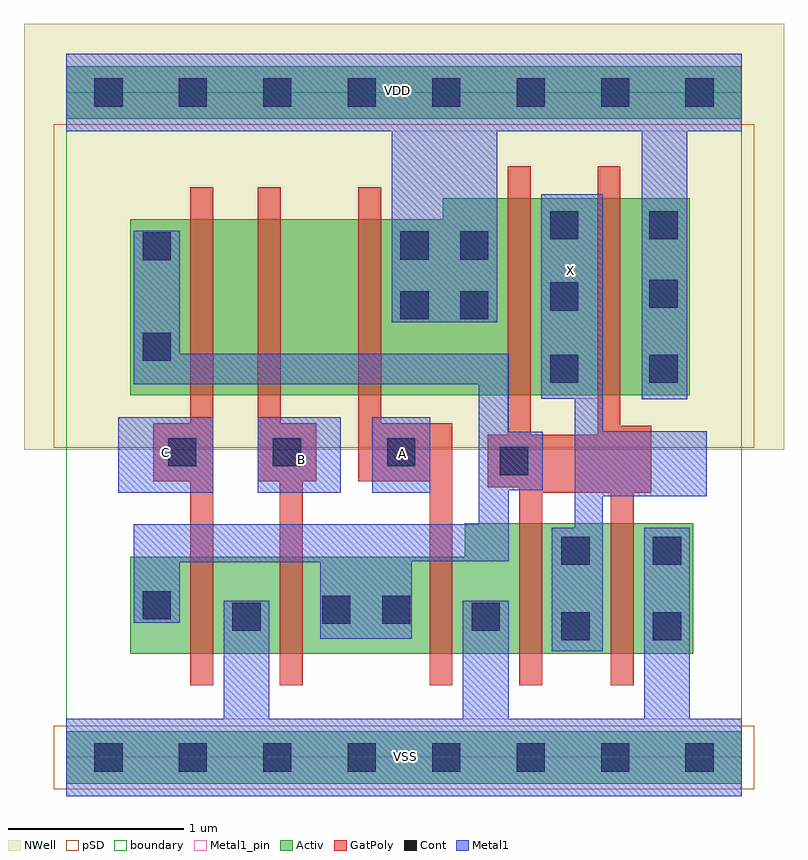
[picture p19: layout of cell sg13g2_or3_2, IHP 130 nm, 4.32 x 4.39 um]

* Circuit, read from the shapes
.subckt sg13g2_or3_2 A B C VDD VSS X
XM1 VSS C n1 VSS sg13_lv_nmos w=0.55u l=0.13u
XM2 n1 B VSS VSS sg13_lv_nmos w=0.55u l=0.13u
XM3 VSS A n1 VSS sg13_lv_nmos w=0.55u l=0.13u
XM4 X n1 VSS VSS sg13_lv_nmos w=0.74u l=0.13u m=2
XM5 n2 C n1 VDD sg13_lv_pmos w=1u l=0.13u
XM6 n3 B n2 VDD sg13_lv_pmos w=1u l=0.13u
XM7 VDD A n3 VDD sg13_lv_pmos w=1u l=0.13u
XM8 X n1 VDD VDD sg13_lv_pmos w=1.12u l=0.13u m=2
.ends

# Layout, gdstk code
import gdstk
lib = gdstk.Library(unit=1e-6, precision=1e-09)
def R(c, l, rs):  # rectangles x0, y0, x1, y1
    for r in rs: c.add(gdstk.rectangle(r[:2], r[2:], *l))
def A(c, l, x, y, w, h, nx, ny, dx, dy):  # array of equal rectangles
    R(c, l, [(x+i*dx, y+j*dy, x+i*dx+w, y+j*dy+h) for i in range(nx) for j in range(ny)])
def P(c, l, *ps):  # polygons
    for p in ps: c.add(gdstk.Polygon(p, *l))
Activ = (1, 0)
GatPoly = (5, 0)
Cont = (6, 0)
Metal1 = (8, 0)
Metal1_pin = (8, 2)
pSD = (14, 0)
NWell = (31, 0)
boundary = (189, 4)

sg13g2_or3_2 = lib.new_cell('sg13g2_or3_2')
R(sg13g2_or3_2, Activ, [(0,-0.15,3.84,0.15), (0,3.63,3.84,3.93)])
P(sg13g2_or3_2, Activ, [(3.545,3.18),(2.14,3.18),(2.14,3.06),(0.365,3.06),(0.365,2.06),(3.545,2.06)],
  [(3.565,1.33),(2.265,1.33),(2.265,1.14),(0.365,1.14),(0.365,0.59),(3.565,0.59)])
R(sg13g2_or3_2, GatPoly, [(3.095,0.41,3.225,1.51), (2.705,1.505,3.02,1.835), (3.02,1.505,3.325,1.885), (3.02,1.88,3.15,3.36)])
P(sg13g2_or3_2, GatPoly, [(0.835,3.24),(0.705,3.24),(0.705,1.9),(0.495,1.9),(0.495,1.57),(0.705,1.57),(0.705,0.41),(0.835,0.41)],
  [(1.42,1.9),(1.22,1.9),(1.22,3.24),(1.09,3.24),(1.09,1.57),(1.215,1.57),(1.215,0.41),(1.345,0.41),(1.345,1.57),(1.42,1.57)],
  [(2.195,1.9),(1.79,1.9),(1.79,3.24),(1.66,3.24),(1.66,1.57),(2.065,1.57),(2.065,0.41),(2.195,0.41)],
  [(2.705,1.835),(2.64,1.835),(2.64,3.36),(2.51,3.36),(2.51,1.835),(2.395,1.835),(2.395,1.535),(2.575,1.535),(2.575,0.41),(2.705,0.41)])
A(sg13g2_or3_2, Cont, 0.16, -0.08, 0.16, 0.16, 8, 1, 0.48, 0)
R(sg13g2_or3_2, Cont, [(2.815,0.665,2.975,0.825), (2.815,0.665,2.975,0.825), (3.335,0.665,3.495,0.825), (0.945,0.72,1.105,0.88), (2.305,0.72,2.465,0.88), (1.455,0.76,1.615,0.92), (1.795,0.76,1.955,0.92), (0.435,0.785,0.595,0.945), (2.815,1.095,2.975,1.255), (2.815,1.095,2.975,1.255), (3.335,1.095,3.495,1.255), (2.465,1.605,2.625,1.765), (0.58,1.655,0.74,1.815), (1.175,1.655,1.335,1.815), (1.825,1.655,1.985,1.815), (2.75,2.13,2.91,2.29), (2.75,2.13,2.91,2.29), (3.315,2.13,3.475,2.29), (0.435,2.255,0.595,2.415), (1.9,2.49,2.06,2.65), (2.24,2.49,2.4,2.65), (2.75,2.54,2.91,2.7), (2.75,2.54,2.91,2.7), (3.315,2.555,3.475,2.715), (0.435,2.825,0.595,2.985), (1.9,2.83,2.06,2.99), (2.24,2.83,2.4,2.99), (2.75,2.945,2.91,3.105), (2.75,2.945,2.91,3.105), (3.315,2.945,3.475,3.105), (0.16,3.7,0.32,3.86), (0.16,3.7,0.32,3.86), (0.64,3.7,0.8,3.86), (0.64,3.7,0.8,3.86), (1.12,3.7,1.28,3.86), (1.12,3.7,1.28,3.86), (1.6,3.7,1.76,3.86), (1.6,3.7,1.76,3.86), (2.08,3.7,2.24,3.86), (2.08,3.7,2.24,3.86), (2.56,3.7,2.72,3.86), (2.56,3.7,2.72,3.86), (3.04,3.7,3.2,3.86), (3.04,3.7,3.2,3.86), (3.52,3.7,3.68,3.86)])
R(sg13g2_or3_2, Metal1, [(0.295,1.505,0.835,1.935), (1.09,1.505,1.56,1.935), (1.74,1.505,2.07,1.935)])
P(sg13g2_or3_2, Metal1, [(3.84,0.22),(3.545,0.22),(3.545,1.305),(3.285,1.305),(3.285,0.22),(2.515,0.22),(2.515,0.89),(2.255,0.89),(2.255,0.22),(1.155,0.22),(1.155,0.89),(0.895,0.89),(0.895,0.22),(0,0.22),(0,-0.22),(3.84,-0.22)],
  [(3.64,1.855),(3.05,1.855),(3.05,3.2),(2.7,3.2),(2.7,2.04),(2.89,2.04),(2.89,1.305),(2.76,1.305),(2.76,0.605),(3.05,0.605),(3.05,1.485),(3.64,1.485)],
  [(3.84,4),(0,4),(0,3.56),(1.85,3.56),(1.85,2.475),(2.45,2.475),(2.45,3.56),(3.27,3.56),(3.27,2.035),(3.53,2.035),(3.53,3.56),(3.84,3.56)],
  [(2.515,1.115),(1.965,1.115),(1.965,0.675),(1.445,0.675),(1.445,1.11),(0.645,1.11),(0.645,0.765),(0.385,0.765),(0.385,1.325),(2.345,1.325),(2.345,2.12),(0.385,2.12),(0.385,2.995),(0.645,2.995),(0.645,2.295),(2.515,2.295),(2.515,1.85),(2.71,1.85),(2.71,1.52),(2.515,1.52)])
R(sg13g2_or3_2, Metal1_pin, [(0,-0.22,3.84,0.22), (0.295,1.505,0.835,1.935), (1.09,1.505,1.56,1.935), (1.74,1.505,2.07,1.935), (2.7,2.04,3.05,3.2), (0,3.56,3.84,4)])
R(sg13g2_or3_2, pSD, [(-0.07,-0.18,3.91,0.18), (-0.07,1.76,3.91,3.6)])
R(sg13g2_or3_2, NWell, [(-0.24,1.75,4.08,4.17)])
R(sg13g2_or3_2, boundary, [(0,0,3.84,3.78)])
sg13g2_or3_2.add(gdstk.Label('VDD', (1.885,3.79), layer=8, texttype=25))
sg13g2_or3_2.add(gdstk.Label('VSS', (1.93,0.005), layer=8, texttype=25))
sg13g2_or3_2.add(gdstk.Label('C', (0.565,1.735), layer=8, texttype=25))
sg13g2_or3_2.add(gdstk.Label('B', (1.335,1.695), layer=8, texttype=25))
sg13g2_or3_2.add(gdstk.Label('A', (1.91,1.725), layer=8, texttype=25))
sg13g2_or3_2.add(gdstk.Label('X', (2.865,2.77), layer=8, texttype=25))

lib.write_gds('sg13g2_or3_2.gds')
